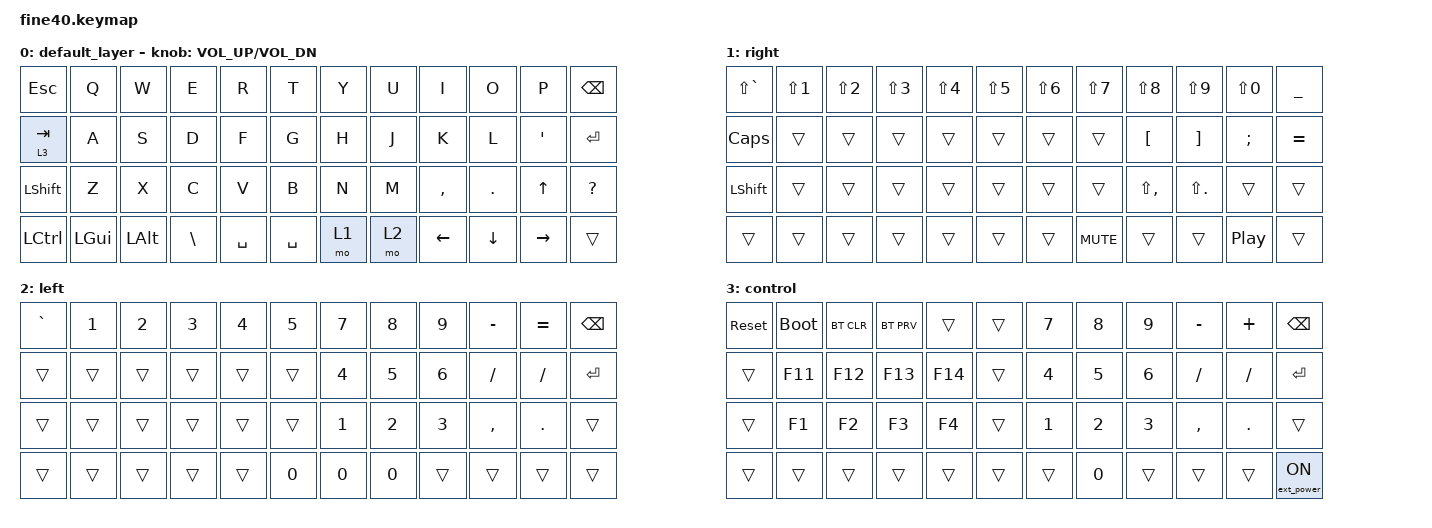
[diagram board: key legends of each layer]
/*
 * Aidan Smith (2021)
 *
 * SPDX-License-Identifier: MIT
 */

#include <behaviors.dtsi>
#include <dt-bindings/zmk/bt.h>
#include <dt-bindings/zmk/ext_power.h>
#include <dt-bindings/zmk/keys.h>

/ {
    keymap {
        compatible = "zmk,keymap";

        default_layer {
            bindings = <
&kp ESCAPE  &kp Q     &kp W     &kp E     &kp R      &kp T      &kp Y  &kp U  &kp I           &kp O     &kp P         &kp BSPC
&lt 3 TAB   &kp A     &kp S     &kp D     &kp F      &kp G      &kp H  &kp J  &kp K           &kp L     &kp APOS      &kp ENTER
&kp LSHFT   &kp Z     &kp X     &kp C     &kp V      &kp B      &kp N  &kp M  &kp COMMA       &kp DOT   &kp UP_ARROW  &kp QUESTION
&kp LCTRL   &kp LGUI  &kp LALT  &kp BSLH  &kp SPACE  &kp SPACE  &mo 1  &mo 2  &kp LEFT_ARROW  &kp DOWN  &kp RIGHT     &trans
            >;

            sensor-bindings = <&inc_dec_kp C_VOL_UP C_VOL_DN>;
        };

        right {
            bindings = <
&kp LS(GRAVE)   &kp LS(N1)  &kp LS(N2)  &kp LS(N3)  &kp LS(N4)  &kp LS(N5)  &kp LS(N6)  &kp LS(N7)  &kp LS(N8)        &kp LS(N9)         &kp LS(N0)     &kp UNDER
&kp CAPS        &trans      &trans      &trans      &trans      &trans      &trans      &trans      &kp LEFT_BRACKET  &kp RIGHT_BRACKET  &kp SEMICOLON  &kp EQUAL
&kp LEFT_SHIFT  &trans      &trans      &trans      &trans      &trans      &trans      &trans      &kp LS(COMMA)     &kp LS(DOT)        &trans         &trans
&trans          &trans      &trans      &trans      &trans      &trans      &trans      &kp C_MUTE  &trans            &trans             &kp C_PP       &trans
            >;
        };

        left {
            bindings = <
&kp GRAVE  &kp N1  &kp N2  &kp N3  &kp N4  &kp N5        &kp N7        &kp N8        &kp N9        &kp MINUS  &kp EQUAL   &kp BSPC
&trans     &trans  &trans  &trans  &trans  &trans        &kp NUMBER_4  &kp N5        &kp NUMBER_6  &kp SLASH  &kp SLASH   &kp ENTER
&trans     &trans  &trans  &trans  &trans  &trans        &kp NUMBER_1  &kp NUMBER_2  &kp NUMBER_3  &kp COMMA  &kp PERIOD  &trans
&trans     &trans  &trans  &trans  &trans  &kp NUMBER_0  &kp NUMBER_0  &kp N0        &trans        &trans     &trans      &trans
            >;
        };

        control {
            bindings = <
&sys_reset  &bootloader  &bt BT_CLR  &bt BT_PRV  &trans   &trans  &kp N7        &kp N8        &kp N9        &kp MINUS  &kp PLUS    &kp BACKSPACE
&trans      &kp F11      &kp F12     &kp F13     &kp F14  &trans  &kp NUMBER_4  &kp N5        &kp NUMBER_6  &kp SLASH  &kp SLASH   &kp ENTER
&trans      &kp F1       &kp F2      &kp F3      &kp F4   &trans  &kp NUMBER_1  &kp NUMBER_2  &kp NUMBER_3  &kp COMMA  &kp PERIOD  &trans
&trans      &trans       &trans      &trans      &trans   &trans  &trans        &kp N0        &trans        &trans     &trans      &ext_power EP_ON
            >;
        };
    };
};
